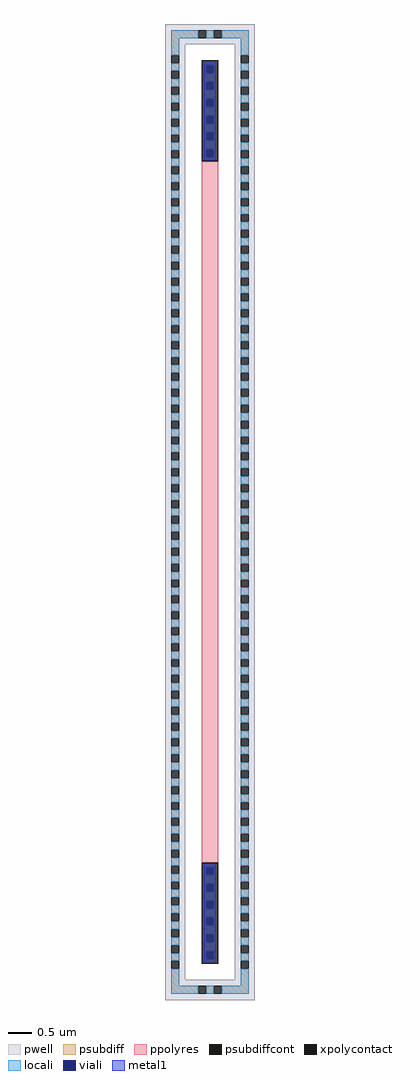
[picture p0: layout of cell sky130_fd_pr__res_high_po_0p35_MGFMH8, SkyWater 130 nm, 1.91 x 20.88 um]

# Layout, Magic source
magic
tech sky130A
magscale 1 2
<< pwell >>
rect -191 2002 191 2088
rect -191 -2002 -105 2002
rect 105 -2002 191 2002
rect -191 -2088 191 -2002
<< psubdiff >>
rect -165 2028 -51 2062
rect -17 2028 17 2062
rect 51 2028 165 2062
rect -165 1955 -131 2028
rect 131 1955 165 2028
rect -165 1887 -131 1921
rect -165 1819 -131 1853
rect -165 1751 -131 1785
rect -165 1683 -131 1717
rect -165 1615 -131 1649
rect -165 1547 -131 1581
rect -165 1479 -131 1513
rect -165 1411 -131 1445
rect -165 1343 -131 1377
rect -165 1275 -131 1309
rect -165 1207 -131 1241
rect -165 1139 -131 1173
rect -165 1071 -131 1105
rect -165 1003 -131 1037
rect -165 935 -131 969
rect -165 867 -131 901
rect -165 799 -131 833
rect -165 731 -131 765
rect -165 663 -131 697
rect -165 595 -131 629
rect -165 527 -131 561
rect -165 459 -131 493
rect -165 391 -131 425
rect -165 323 -131 357
rect -165 255 -131 289
rect -165 187 -131 221
rect -165 119 -131 153
rect -165 51 -131 85
rect -165 -17 -131 17
rect -165 -85 -131 -51
rect -165 -153 -131 -119
rect -165 -221 -131 -187
rect -165 -289 -131 -255
rect -165 -357 -131 -323
rect -165 -425 -131 -391
rect -165 -493 -131 -459
rect -165 -561 -131 -527
rect -165 -629 -131 -595
rect -165 -697 -131 -663
rect -165 -765 -131 -731
rect -165 -833 -131 -799
rect -165 -901 -131 -867
rect -165 -969 -131 -935
rect -165 -1037 -131 -1003
rect -165 -1105 -131 -1071
rect -165 -1173 -131 -1139
rect -165 -1241 -131 -1207
rect -165 -1309 -131 -1275
rect -165 -1377 -131 -1343
rect -165 -1445 -131 -1411
rect -165 -1513 -131 -1479
rect -165 -1581 -131 -1547
rect -165 -1649 -131 -1615
rect -165 -1717 -131 -1683
rect -165 -1785 -131 -1751
rect -165 -1853 -131 -1819
rect -165 -1921 -131 -1887
rect 131 1887 165 1921
rect 131 1819 165 1853
rect 131 1751 165 1785
rect 131 1683 165 1717
rect 131 1615 165 1649
rect 131 1547 165 1581
rect 131 1479 165 1513
rect 131 1411 165 1445
rect 131 1343 165 1377
rect 131 1275 165 1309
rect 131 1207 165 1241
rect 131 1139 165 1173
rect 131 1071 165 1105
rect 131 1003 165 1037
rect 131 935 165 969
rect 131 867 165 901
rect 131 799 165 833
rect 131 731 165 765
rect 131 663 165 697
rect 131 595 165 629
rect 131 527 165 561
rect 131 459 165 493
rect 131 391 165 425
rect 131 323 165 357
rect 131 255 165 289
rect 131 187 165 221
rect 131 119 165 153
rect 131 51 165 85
rect 131 -17 165 17
rect 131 -85 165 -51
rect 131 -153 165 -119
rect 131 -221 165 -187
rect 131 -289 165 -255
rect 131 -357 165 -323
rect 131 -425 165 -391
rect 131 -493 165 -459
rect 131 -561 165 -527
rect 131 -629 165 -595
rect 131 -697 165 -663
rect 131 -765 165 -731
rect 131 -833 165 -799
rect 131 -901 165 -867
rect 131 -969 165 -935
rect 131 -1037 165 -1003
rect 131 -1105 165 -1071
rect 131 -1173 165 -1139
rect 131 -1241 165 -1207
rect 131 -1309 165 -1275
rect 131 -1377 165 -1343
rect 131 -1445 165 -1411
rect 131 -1513 165 -1479
rect 131 -1581 165 -1547
rect 131 -1649 165 -1615
rect 131 -1717 165 -1683
rect 131 -1785 165 -1751
rect 131 -1853 165 -1819
rect 131 -1921 165 -1887
rect -165 -2028 -131 -1955
rect 131 -2028 165 -1955
rect -165 -2062 -51 -2028
rect -17 -2062 17 -2028
rect 51 -2062 165 -2028
<< psubdiffcont >>
rect -51 2028 -17 2062
rect 17 2028 51 2062
rect -165 1921 -131 1955
rect -165 1853 -131 1887
rect -165 1785 -131 1819
rect -165 1717 -131 1751
rect -165 1649 -131 1683
rect -165 1581 -131 1615
rect -165 1513 -131 1547
rect -165 1445 -131 1479
rect -165 1377 -131 1411
rect -165 1309 -131 1343
rect -165 1241 -131 1275
rect -165 1173 -131 1207
rect -165 1105 -131 1139
rect -165 1037 -131 1071
rect -165 969 -131 1003
rect -165 901 -131 935
rect -165 833 -131 867
rect -165 765 -131 799
rect -165 697 -131 731
rect -165 629 -131 663
rect -165 561 -131 595
rect -165 493 -131 527
rect -165 425 -131 459
rect -165 357 -131 391
rect -165 289 -131 323
rect -165 221 -131 255
rect -165 153 -131 187
rect -165 85 -131 119
rect -165 17 -131 51
rect -165 -51 -131 -17
rect -165 -119 -131 -85
rect -165 -187 -131 -153
rect -165 -255 -131 -221
rect -165 -323 -131 -289
rect -165 -391 -131 -357
rect -165 -459 -131 -425
rect -165 -527 -131 -493
rect -165 -595 -131 -561
rect -165 -663 -131 -629
rect -165 -731 -131 -697
rect -165 -799 -131 -765
rect -165 -867 -131 -833
rect -165 -935 -131 -901
rect -165 -1003 -131 -969
rect -165 -1071 -131 -1037
rect -165 -1139 -131 -1105
rect -165 -1207 -131 -1173
rect -165 -1275 -131 -1241
rect -165 -1343 -131 -1309
rect -165 -1411 -131 -1377
rect -165 -1479 -131 -1445
rect -165 -1547 -131 -1513
rect -165 -1615 -131 -1581
rect -165 -1683 -131 -1649
rect -165 -1751 -131 -1717
rect -165 -1819 -131 -1785
rect -165 -1887 -131 -1853
rect -165 -1955 -131 -1921
rect 131 1921 165 1955
rect 131 1853 165 1887
rect 131 1785 165 1819
rect 131 1717 165 1751
rect 131 1649 165 1683
rect 131 1581 165 1615
rect 131 1513 165 1547
rect 131 1445 165 1479
rect 131 1377 165 1411
rect 131 1309 165 1343
rect 131 1241 165 1275
rect 131 1173 165 1207
rect 131 1105 165 1139
rect 131 1037 165 1071
rect 131 969 165 1003
rect 131 901 165 935
rect 131 833 165 867
rect 131 765 165 799
rect 131 697 165 731
rect 131 629 165 663
rect 131 561 165 595
rect 131 493 165 527
rect 131 425 165 459
rect 131 357 165 391
rect 131 289 165 323
rect 131 221 165 255
rect 131 153 165 187
rect 131 85 165 119
rect 131 17 165 51
rect 131 -51 165 -17
rect 131 -119 165 -85
rect 131 -187 165 -153
rect 131 -255 165 -221
rect 131 -323 165 -289
rect 131 -391 165 -357
rect 131 -459 165 -425
rect 131 -527 165 -493
rect 131 -595 165 -561
rect 131 -663 165 -629
rect 131 -731 165 -697
rect 131 -799 165 -765
rect 131 -867 165 -833
rect 131 -935 165 -901
rect 131 -1003 165 -969
rect 131 -1071 165 -1037
rect 131 -1139 165 -1105
rect 131 -1207 165 -1173
rect 131 -1275 165 -1241
rect 131 -1343 165 -1309
rect 131 -1411 165 -1377
rect 131 -1479 165 -1445
rect 131 -1547 165 -1513
rect 131 -1615 165 -1581
rect 131 -1683 165 -1649
rect 131 -1751 165 -1717
rect 131 -1819 165 -1785
rect 131 -1887 165 -1853
rect 131 -1955 165 -1921
rect -51 -2062 -17 -2028
rect 17 -2062 51 -2028
<< xpolycontact >>
rect -35 1500 35 1932
rect -35 -1932 35 -1500
<< ppolyres >>
rect -35 -1500 35 1500
<< locali >>
rect -165 2028 -51 2062
rect -17 2028 17 2062
rect 51 2028 165 2062
rect -165 1955 -131 2028
rect 131 1955 165 2028
rect -165 1887 -131 1921
rect -165 1819 -131 1853
rect -165 1751 -131 1785
rect -165 1683 -131 1717
rect -165 1615 -131 1649
rect -165 1547 -131 1581
rect -165 1479 -131 1513
rect 131 1887 165 1921
rect 131 1819 165 1853
rect 131 1751 165 1785
rect 131 1683 165 1717
rect 131 1615 165 1649
rect 131 1547 165 1581
rect -165 1411 -131 1445
rect -165 1343 -131 1377
rect -165 1275 -131 1309
rect -165 1207 -131 1241
rect -165 1139 -131 1173
rect -165 1071 -131 1105
rect -165 1003 -131 1037
rect -165 935 -131 969
rect -165 867 -131 901
rect -165 799 -131 833
rect -165 731 -131 765
rect -165 663 -131 697
rect -165 595 -131 629
rect -165 527 -131 561
rect -165 459 -131 493
rect -165 391 -131 425
rect -165 323 -131 357
rect -165 255 -131 289
rect -165 187 -131 221
rect -165 119 -131 153
rect -165 51 -131 85
rect -165 -17 -131 17
rect -165 -85 -131 -51
rect -165 -153 -131 -119
rect -165 -221 -131 -187
rect -165 -289 -131 -255
rect -165 -357 -131 -323
rect -165 -425 -131 -391
rect -165 -493 -131 -459
rect -165 -561 -131 -527
rect -165 -629 -131 -595
rect -165 -697 -131 -663
rect -165 -765 -131 -731
rect -165 -833 -131 -799
rect -165 -901 -131 -867
rect -165 -969 -131 -935
rect -165 -1037 -131 -1003
rect -165 -1105 -131 -1071
rect -165 -1173 -131 -1139
rect -165 -1241 -131 -1207
rect -165 -1309 -131 -1275
rect -165 -1377 -131 -1343
rect -165 -1445 -131 -1411
rect -165 -1513 -131 -1479
rect 131 1479 165 1513
rect 131 1411 165 1445
rect 131 1343 165 1377
rect 131 1275 165 1309
rect 131 1207 165 1241
rect 131 1139 165 1173
rect 131 1071 165 1105
rect 131 1003 165 1037
rect 131 935 165 969
rect 131 867 165 901
rect 131 799 165 833
rect 131 731 165 765
rect 131 663 165 697
rect 131 595 165 629
rect 131 527 165 561
rect 131 459 165 493
rect 131 391 165 425
rect 131 323 165 357
rect 131 255 165 289
rect 131 187 165 221
rect 131 119 165 153
rect 131 51 165 85
rect 131 -17 165 17
rect 131 -85 165 -51
rect 131 -153 165 -119
rect 131 -221 165 -187
rect 131 -289 165 -255
rect 131 -357 165 -323
rect 131 -425 165 -391
rect 131 -493 165 -459
rect 131 -561 165 -527
rect 131 -629 165 -595
rect 131 -697 165 -663
rect 131 -765 165 -731
rect 131 -833 165 -799
rect 131 -901 165 -867
rect 131 -969 165 -935
rect 131 -1037 165 -1003
rect 131 -1105 165 -1071
rect 131 -1173 165 -1139
rect 131 -1241 165 -1207
rect 131 -1309 165 -1275
rect 131 -1377 165 -1343
rect 131 -1445 165 -1411
rect -165 -1581 -131 -1547
rect -165 -1649 -131 -1615
rect -165 -1717 -131 -1683
rect -165 -1785 -131 -1751
rect -165 -1853 -131 -1819
rect -165 -1921 -131 -1887
rect 131 -1513 165 -1479
rect 131 -1581 165 -1547
rect 131 -1649 165 -1615
rect 131 -1717 165 -1683
rect 131 -1785 165 -1751
rect 131 -1853 165 -1819
rect 131 -1921 165 -1887
rect -165 -2028 -131 -1955
rect 131 -2028 165 -1955
rect -165 -2062 -51 -2028
rect -17 -2062 17 -2028
rect 51 -2062 165 -2028
<< viali >>
rect -17 1878 17 1912
rect -17 1806 17 1840
rect -17 1734 17 1768
rect -17 1662 17 1696
rect -17 1590 17 1624
rect -17 1518 17 1552
rect -17 -1553 17 -1519
rect -17 -1625 17 -1591
rect -17 -1697 17 -1663
rect -17 -1769 17 -1735
rect -17 -1841 17 -1807
rect -17 -1913 17 -1879
<< metal1 >>
rect -25 1912 25 1926
rect -25 1878 -17 1912
rect 17 1878 25 1912
rect -25 1840 25 1878
rect -25 1806 -17 1840
rect 17 1806 25 1840
rect -25 1768 25 1806
rect -25 1734 -17 1768
rect 17 1734 25 1768
rect -25 1696 25 1734
rect -25 1662 -17 1696
rect 17 1662 25 1696
rect -25 1624 25 1662
rect -25 1590 -17 1624
rect 17 1590 25 1624
rect -25 1552 25 1590
rect -25 1518 -17 1552
rect 17 1518 25 1552
rect -25 1505 25 1518
rect -25 -1519 25 -1505
rect -25 -1553 -17 -1519
rect 17 -1553 25 -1519
rect -25 -1591 25 -1553
rect -25 -1625 -17 -1591
rect 17 -1625 25 -1591
rect -25 -1663 25 -1625
rect -25 -1697 -17 -1663
rect 17 -1697 25 -1663
rect -25 -1735 25 -1697
rect -25 -1769 -17 -1735
rect 17 -1769 25 -1735
rect -25 -1807 25 -1769
rect -25 -1841 -17 -1807
rect 17 -1841 25 -1807
rect -25 -1879 25 -1841
rect -25 -1913 -17 -1879
rect 17 -1913 25 -1879
rect -25 -1926 25 -1913
<< properties >>
string FIXED_BBOX -148 -2045 148 2045
<< end >>
